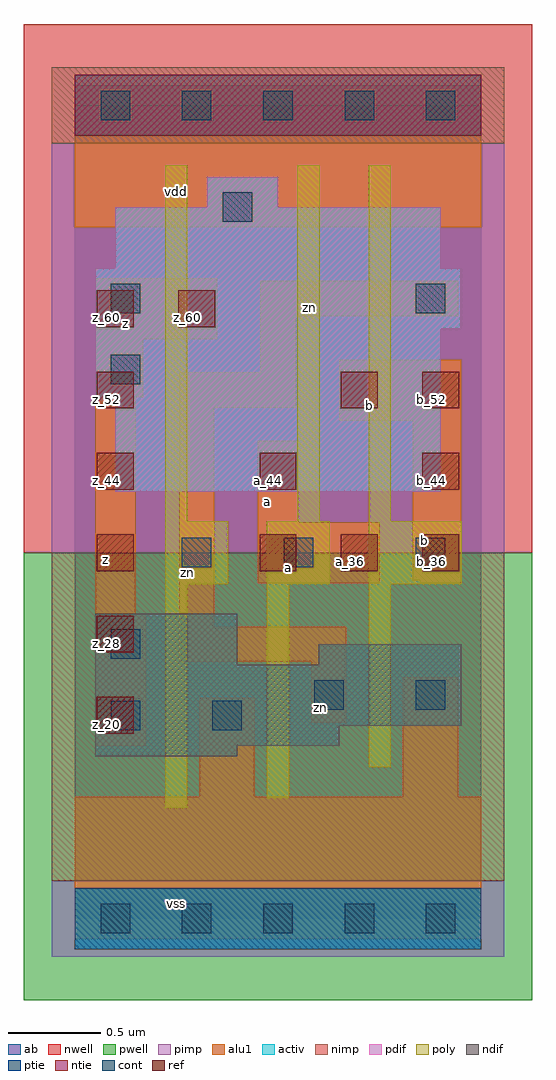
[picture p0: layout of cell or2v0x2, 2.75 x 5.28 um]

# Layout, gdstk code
import gdstk
lib = gdstk.Library(unit=1e-6, precision=2.5e-09)
def R(c, l, rs):  # rectangles x0, y0, x1, y1
    for r in rs: c.add(gdstk.rectangle(r[:2], r[2:], *l))
def A(c, l, x, y, w, h, nx, ny, dx, dy):  # array of equal rectangles
    R(c, l, [(x+i*dx, y+j*dy, x+i*dx+w, y+j*dy+h) for i in range(nx) for j in range(ny)])
ndif = (3, 0)
pdif = (4, 0)
ntie = (5, 0)
ptie = (6, 0)
ref = (24, 0)
cont = (25, 0)
pwell = (41, 0)
nwell = (42, 0)
activ = (43, 0)
pimp = (44, 0)
nimp = (45, 0)
poly = (46, 0)
alu1 = (49, 0)
ab = (63, 0)

or2v0x2 = lib.new_cell('or2v0x2')
R(or2v0x2, ndif, [(0.11,0.88,0.88,0.935), (0.11,0.935,1.43,1.045), (0.11,1.045,2.09,1.375), (0.11,1.375,0.88,1.65), (1.32,1.375,2.09,1.485)])
R(or2v0x2, pdif, [(0.22,2.31,1.98,2.805), (0.11,2.805,1.98,3.19), (0.11,3.19,2.09,3.52), (0.22,3.52,1.98,3.85), (0.715,3.85,1.1,4.015)])
R(or2v0x2, ntie, [(0,4.235,2.2,4.565)])
R(or2v0x2, ptie, [(0,-0.165,2.2,0.165)])
A(or2v0x2, ref, 0.12, 1, 0.2, 0.2, 1, 3, 0, 0.44)
A(or2v0x2, ref, 1, 1.88, 0.2, 0.2, 3, 1, 0.44, 0)
A(or2v0x2, ref, 0.12, 2.32, 0.2, 0.2, 3, 1, 0.88, 0)
R(or2v0x2, ref, [(0.12,2.76,0.32,2.96), (1.44,2.76,1.64,2.96), (1.88,2.76,2.08,2.96), (0.12,3.2,0.32,3.4), (0.56,3.2,0.76,3.4)])
A(or2v0x2, cont, 0.14, -0.08, 0.16, 0.16, 5, 2, 0.44, 4.4)
R(or2v0x2, cont, [(0.195,1.02,0.355,1.18), (0.745,1.02,0.905,1.18), (1.295,1.13,1.455,1.29), (1.845,1.13,2.005,1.29), (0.195,1.405,0.355,1.565), (0.58,1.9,0.74,2.06), (1.13,1.9,1.29,2.06), (1.845,1.9,2.005,2.06), (0.195,2.89,0.355,3.05), (0.195,3.275,0.355,3.435), (1.845,3.275,2.005,3.435), (0.8,3.77,0.96,3.93)])
R(or2v0x2, pwell, [(-0.275,-0.44,2.475,1.98)])
R(or2v0x2, nwell, [(-0.275,1.98,2.475,4.84)])
R(or2v0x2, activ, [(0,-0.165,2.2,0.165), (0.11,0.88,0.88,0.935), (0.11,0.935,1.43,1.045), (0.11,1.045,2.09,1.375), (0.11,1.375,0.88,1.65), (1.32,1.375,2.09,1.485), (0.22,2.31,1.98,2.805), (0.11,2.805,1.98,3.19), (0.11,3.19,2.09,3.52), (0.22,3.52,1.98,3.85), (0.715,3.85,1.1,4.015), (0,4.235,2.2,4.565)])
R(or2v0x2, pimp, [(-0.125,-0.205,2.325,0.205), (-0.125,1.98,2.325,4.195)])
R(or2v0x2, nimp, [(-0.125,0.205,2.325,1.98), (-0.125,4.195,2.325,4.605)])
R(or2v0x2, poly, [(0.49,0.6,0.61,1.81), (1.04,0.655,1.16,1.81), (1.59,0.82,1.71,1.81), (0.49,1.81,0.83,2.15), (1.04,1.81,1.38,2.15), (1.59,1.81,2.095,2.15), (0.49,2.15,0.61,4.075), (1.205,2.15,1.325,4.075), (1.59,2.15,1.71,4.075)])
R(or2v0x2, alu1, [(0,-0.11,2.2,0.66), (0.675,0.66,0.975,1.195), (1.775,0.66,2.075,1.305), (0.11,0.935,0.385,1.65), (1.28,1.06,1.47,1.39), (0.565,1.39,1.47,1.58), (0.565,1.58,0.755,2.765), (0.11,1.65,0.33,2.82), (0.99,1.815,1.65,2.145), (1.87,1.815,2.09,1.83), (1.83,1.83,2.09,2.695), (0.99,2.145,1.21,2.585), (1.43,2.695,2.09,3.025), (0.565,2.765,1.195,2.955), (0.11,2.82,0.37,3.135), (1.005,2.955,1.195,3.26), (0.11,3.135,0.77,3.465), (1.005,3.26,2.075,3.45), (0,3.74,2.2,4.51)])
R(or2v0x2, ab, [(0,0,2.2,4.4)])
or2v0x2.add(gdstk.Label('vss', (0.55,0.0825), layer=49, texttype=0))
or2v0x2.add(gdstk.Label('zn', (1.3275,1.1425), layer=49, texttype=0))
or2v0x2.add(gdstk.Label('b', (1.895,2.045), layer=49, texttype=0))
or2v0x2.add(gdstk.Label('a', (1.155,1.8975), layer=49, texttype=0))
or2v0x2.add(gdstk.Label('a', (1.045,2.255), layer=49, texttype=0))
or2v0x2.add(gdstk.Label('b', (1.595,2.7775), layer=49, texttype=0))
or2v0x2.add(gdstk.Label('zn', (0.6125,1.875), layer=49, texttype=0))
or2v0x2.add(gdstk.Label('z', (0.165,1.9425), layer=49, texttype=0))
or2v0x2.add(gdstk.Label('zn', (1.2725,3.3075), layer=49, texttype=0))
or2v0x2.add(gdstk.Label('z', (0.275,3.2175), layer=49, texttype=0))
or2v0x2.add(gdstk.Label('vdd', (0.55,3.9325), layer=49, texttype=0))
or2v0x2.add(gdstk.Label('z_60', (0.61,3.25), layer=24, texttype=0))
or2v0x2.add(gdstk.Label('a_36', (1.05,1.93), layer=24, texttype=0))
or2v0x2.add(gdstk.Label('a_44', (1.05,2.37), layer=24, texttype=0))
or2v0x2.add(gdstk.Label('a_36', (1.49,1.93), layer=24, texttype=0))
or2v0x2.add(gdstk.Label('b_52', (1.49,2.81), layer=24, texttype=0))
or2v0x2.add(gdstk.Label('b_36', (1.93,1.93), layer=24, texttype=0))
or2v0x2.add(gdstk.Label('b_44', (1.93,2.37), layer=24, texttype=0))
or2v0x2.add(gdstk.Label('b_52', (1.93,2.81), layer=24, texttype=0))
or2v0x2.add(gdstk.Label('z_20', (0.17,1.05), layer=24, texttype=0))
or2v0x2.add(gdstk.Label('z_28', (0.17,1.49), layer=24, texttype=0))
or2v0x2.add(gdstk.Label('z_36', (0.17,1.93), layer=24, texttype=0))
or2v0x2.add(gdstk.Label('z_44', (0.17,2.37), layer=24, texttype=0))
or2v0x2.add(gdstk.Label('z_52', (0.17,2.81), layer=24, texttype=0))
or2v0x2.add(gdstk.Label('z_60', (0.17,3.25), layer=24, texttype=0))

lib.write_gds('or2v0x2.gds')
